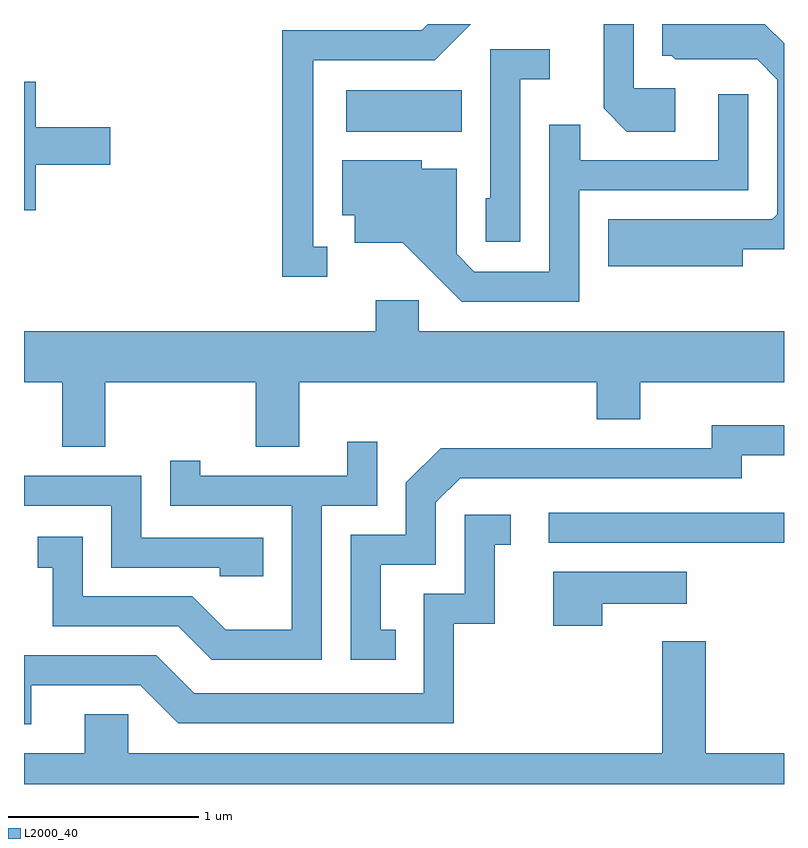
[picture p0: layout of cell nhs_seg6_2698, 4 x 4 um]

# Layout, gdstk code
import gdstk
lib = gdstk.Library(unit=1e-6, precision=1e-09)
def R(c, l, rs):  # rectangles x0, y0, x1, y1
    for r in rs: c.add(gdstk.rectangle(r[:2], r[2:], *l))
def P(c, l, *ps):  # polygons
    for p in ps: c.add(gdstk.Polygon(p, *l))
L2000_40 = (2000, 40)

nhs_seg6_2698 = lib.new_cell('nhs_seg6_2698')
R(nhs_seg6_2698, L2000_40, [(270.373,1531.431,271.611,1531.589), (269.306,1533.596,269.914,1533.814)])
P(nhs_seg6_2698, L2000_40, [(271.394,1532.976),(271.611,1532.976),(271.611,1534.06),(271.509,1534.162),(270.971,1534.162),(270.971,1533.996),(271.019,1533.996),(271.039,1533.976),(271.469,1533.976),(271.576,1533.869),(271.576,1533.162),(271.549,1533.134),(270.686,1533.134),(270.686,1532.886),(271.394,1532.886)],
  [(271.039,1533.824),(270.819,1533.824),(270.819,1534.162),(270.661,1534.162),(270.661,1533.719),(270.784,1533.596),(271.039,1533.596)],
  [(269.208,1532.989),(269.134,1532.989),(269.134,1533.971),(269.772,1533.971),(269.963,1534.162),(269.737,1534.162),(269.704,1534.129),(268.971,1534.129),(268.971,1532.831),(269.208,1532.831)],
  [(270.224,1533.871),(270.378,1533.871),(270.378,1534.029),(270.066,1534.029),(270.066,1533.244),(270.041,1533.244),(270.041,1533.016),(270.224,1533.016)],
  [(267.674,1533.421),(268.064,1533.421),(268.064,1533.619),(267.674,1533.619),(267.674,1533.859),(267.611,1533.859),(267.611,1533.181),(267.674,1533.181)],
  [(270.534,1533.286),(271.424,1533.286),(271.424,1533.793),(271.266,1533.793),(271.266,1533.444),(270.539,1533.444),(270.539,1533.633),(270.376,1533.633),(270.376,1532.859),(269.982,1532.859),(269.889,1532.952),(269.889,1533.399),(269.704,1533.399),(269.704,1533.444),(269.286,1533.444),(269.286,1533.156),(269.351,1533.156),(269.351,1533.011),(269.604,1533.011),(269.914,1532.701),(270.534,1532.701)],
  [(268.039,1532.276),(268.831,1532.276),(268.831,1531.936),(269.059,1531.936),(269.059,1532.276),(270.626,1532.276),(270.626,1532.081),(270.854,1532.081),(270.854,1532.276),(271.611,1532.276),(271.611,1532.544),(269.689,1532.544),(269.689,1532.709),(269.461,1532.709),(269.461,1532.544),(267.611,1532.544),(267.611,1532.276),(267.811,1532.276),(267.811,1531.936),(268.039,1531.936)],
  [(269.568,1530.974),(269.489,1530.974),(269.489,1531.316),(269.779,1531.316),(269.779,1531.644),(269.907,1531.771),(271.389,1531.771),(271.389,1531.891),(271.611,1531.891),(271.611,1532.049),(271.231,1532.049),(271.231,1531.929),(269.804,1531.929),(269.621,1531.747),(269.621,1531.474),(269.331,1531.474),(269.331,1530.816),(269.568,1530.816)],
  [(269.179,1531.626),(269.469,1531.626),(269.469,1531.963),(269.311,1531.963),(269.311,1531.784),(268.539,1531.784),(268.539,1531.863),(268.381,1531.863),(268.381,1531.626),(269.021,1531.626),(269.021,1530.974),(268.672,1530.974),(268.497,1531.149),(267.919,1531.149),(267.919,1531.464),(267.683,1531.464),(267.683,1531.301),(267.761,1531.301),(267.761,1530.991),(268.424,1530.991),(268.599,1530.816),(269.179,1530.816)],
  [(268.869,1531.459),(268.229,1531.459),(268.229,1531.784),(267.611,1531.784),(267.611,1531.626),(268.071,1531.626),(268.071,1531.301),(268.641,1531.301),(268.641,1531.256),(268.869,1531.256)],
  [(267.649,1530.681),(268.224,1530.681),(268.424,1530.481),(269.874,1530.481),(269.874,1531.006),(270.089,1531.006),(270.089,1531.421),(270.173,1531.421),(270.173,1531.579),(269.931,1531.579),(269.931,1531.164),(269.716,1531.164),(269.716,1530.639),(268.507,1530.639),(268.307,1530.839),(267.611,1530.839),(267.611,1530.476),(267.649,1530.476)],
  [(270.654,1531.111),(271.098,1531.111),(271.098,1531.279),(270.396,1531.279),(270.396,1530.996),(270.654,1530.996)],
  [(271.611,1530.324),(271.199,1530.324),(271.199,1530.914),(270.971,1530.914),(270.971,1530.324),(268.159,1530.324),(268.159,1530.529),(267.931,1530.529),(267.931,1530.324),(267.611,1530.324),(267.611,1530.162),(271.611,1530.162)])

lib.write_gds('nhs_seg6_2698.gds')
